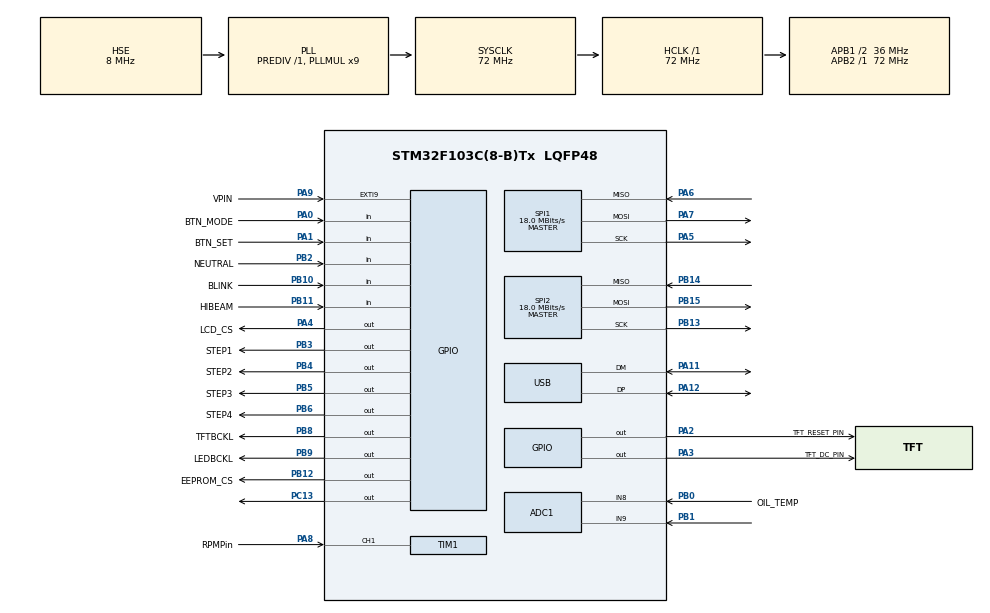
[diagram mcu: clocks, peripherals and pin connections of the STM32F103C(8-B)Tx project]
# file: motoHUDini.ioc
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ADC1.Channel-0\#ChannelRegularConversion=ADC_CHANNEL_8
ADC1.Channel-1\#ChannelRegularConversion=ADC_CHANNEL_9
ADC1.Channel-2\#ChannelRegularConversion=ADC_CHANNEL_TEMPSENSOR
ADC1.ContinuousConvMode=ENABLE
ADC1.EnableAnalogWatchDog=false
ADC1.InjNumberOfConversion=0
ADC1.NbrOfConversion=3
ADC1.NbrOfConversionFlag=1
ADC1.Rank-0\#ChannelRegularConversion=1
ADC1.Rank-1\#ChannelRegularConversion=2
ADC1.Rank-2\#ChannelRegularConversion=3
ADC1.SamplingTime-0\#ChannelRegularConversion=ADC_SAMPLETIME_71CYCLES_5
ADC1.SamplingTime-1\#ChannelRegularConversion=ADC_SAMPLETIME_71CYCLES_5
ADC1.SamplingTime-2\#ChannelRegularConversion=ADC_SAMPLETIME_28CYCLES_5
ADC1.master=1
Dma.ADC1.1.Direction=DMA_PERIPH_TO_MEMORY
Dma.ADC1.1.Instance=DMA1_Channel1
Dma.ADC1.1.MemDataAlignment=DMA_MDATAALIGN_WORD
Dma.ADC1.1.MemInc=DMA_MINC_ENABLE
Dma.ADC1.1.Mode=DMA_CIRCULAR
Dma.ADC1.1.PeriphDataAlignment=DMA_PDATAALIGN_WORD
Dma.ADC1.1.PeriphInc=DMA_PINC_DISABLE
Dma.ADC1.1.Priority=DMA_PRIORITY_LOW
Dma.Request0=SPI1_TX
Dma.Request1=ADC1
Dma.Request2=SPI1_RX
Dma.SPI1_RX.2.Direction=DMA_PERIPH_TO_MEMORY
Dma.SPI1_RX.2.Instance=DMA1_Channel2
Dma.SPI1_RX.2.MemDataAlignment=DMA_MDATAALIGN_BYTE
Dma.SPI1_RX.2.MemInc=DMA_MINC_ENABLE
Dma.SPI1_RX.2.Mode=DMA_NORMAL
Dma.SPI1_RX.2.PeriphDataAlignment=DMA_PDATAALIGN_BYTE
Dma.SPI1_RX.2.PeriphInc=DMA_PINC_DISABLE
Dma.SPI1_RX.2.Priority=DMA_PRIORITY_HIGH
Dma.SPI1_TX.0.Direction=DMA_MEMORY_TO_PERIPH
Dma.SPI1_TX.0.Instance=DMA1_Channel3
Dma.SPI1_TX.0.MemDataAlignment=DMA_MDATAALIGN_BYTE
Dma.SPI1_TX.0.MemInc=DMA_MINC_ENABLE
Dma.SPI1_TX.0.Mode=DMA_NORMAL
Dma.SPI1_TX.0.PeriphDataAlignment=DMA_PDATAALIGN_BYTE
Dma.SPI1_TX.0.PeriphInc=DMA_PINC_DISABLE
Dma.SPI1_TX.0.Priority=DMA_PRIORITY_HIGH
FREERTOS.Tasks01=defaultTask,0,64,StartDefaultTask,Default,NULL,Dynamic,NULL,NULL;LCDMain,-1,1024,vLCDMain,Default,NULL,Dynamic,NULL,NULL;Stepper,1,64,vStepp,Default,NULL,Dynamic,NULL,NULL;startup,3,64,vStartup,Default,NULL,Dynamic,NULL,NULL
FREERTOS.configCHECK_FOR_STACK_OVERFLOW=2
FREERTOS.configGENERATE_RUN_TIME_STATS=1
FREERTOS.configMINIMAL_STACK_SIZE=64
FREERTOS.configTOTAL_HEAP_SIZE=12000
Mcu.Family=STM32F1
Mcu.Name=STM32F103C(8-B)Tx
Mcu.Package=LQFP48
NVIC.ADC1_2_IRQn=true\:5\:0\:false\:false\:true\:true\:true\:true
NVIC.DMA1_Channel1_IRQn=true\:5\:0\:false\:false\:true\:true\:false\:true
NVIC.DMA1_Channel2_IRQn=true\:5\:0\:false\:false\:true\:true\:false\:true
NVIC.DMA1_Channel3_IRQn=true\:5\:0\:false\:false\:true\:true\:false\:true
NVIC.EXTI9_5_IRQn=true\:5\:0\:false\:false\:true\:true\:true\:true
NVIC.PriorityGroup=NVIC_PRIORITYGROUP_4
NVIC.SPI1_IRQn=true\:5\:0\:false\:false\:true\:true\:true\:true
NVIC.TIM1_CC_IRQn=true\:5\:0\:false\:false\:true\:true\:true\:true
NVIC.TIM2_IRQn=true\:5\:0\:false\:false\:true\:true\:true\:true
NVIC.TIM3_IRQn=true\:5\:0\:false\:false\:true\:true\:true\:true
NVIC.TIM4_IRQn=true\:0\:0\:false\:false\:true\:false\:false\:true
NVIC.TimeBase=TIM4_IRQn
NVIC.TimeBaseIP=TIM4
NVIC.USB_LP_CAN1_RX0_IRQn=true\:5\:0\:false\:false\:true\:true\:false\:true
PA0-WKUP.GPIO_Label=BTN_MODE
PA0-WKUP.GPIO_PuPd=GPIO_PULLUP
PA0-WKUP.Signal=GPIO_Input
PA1.GPIO_Label=BTN_SET
PA1.GPIO_PuPd=GPIO_PULLUP
PA1.Signal=GPIO_Input
PA11.Mode=Device
PA11.Signal=USB_DM
PA12.Mode=Device
PA12.Signal=USB_DP
PA13.Mode=Serial_Wire
PA13.Signal=SYS_JTMS-SWDIO
PA14.Mode=Serial_Wire
PA14.Signal=SYS_JTCK-SWCLK
PA2.GPIO_Label=TFT_RESET_PIN
PA2.GPIO_Speed=GPIO_SPEED_FREQ_HIGH
PA2.Signal=GPIO_Output
PA3.GPIO_Label=TFT_DC_PIN
PA3.GPIO_Speed=GPIO_SPEED_FREQ_HIGH
PA3.Signal=GPIO_Output
PA4.GPIO_Label=LCD_CS
PA4.GPIO_Speed=GPIO_SPEED_FREQ_HIGH
PA4.Signal=GPIO_Output
PA5.Mode=Full_Duplex_Master
PA5.Signal=SPI1_SCK
PA6.Mode=Full_Duplex_Master
PA6.Signal=SPI1_MISO
PA7.Mode=Full_Duplex_Master
PA7.Signal=SPI1_MOSI
PA8.GPIO_Label=RPMPin
PA8.Signal=S_TIM1_CH1
PA9.GPIO_Label=VPIN
PA9.GPIO_ModeDefaultEXTI=GPIO_MODE_IT_FALLING
PA9.GPIO_PuPd=GPIO_PULLUP
PA9.Signal=GPXTI9
PB0.GPIO_Label=OIL_TEMP
PB0.Signal=ADCx_IN8
PB1.Signal=ADCx_IN9
PB10.GPIO_Label=BLINK
PB10.Signal=GPIO_Input
PB11.GPIO_Label=HIBEAM
PB11.Signal=GPIO_Input
PB12.GPIO_Label=EEPROM_CS
PB12.GPIO_PuPd=GPIO_PULLUP
PB12.PinState=GPIO_PIN_SET
PB12.Signal=GPIO_Output
PB13.Mode=Full_Duplex_Master
PB13.Signal=SPI2_SCK
PB14.Mode=Full_Duplex_Master
PB14.Signal=SPI2_MISO
PB15.Mode=Full_Duplex_Master
PB15.Signal=SPI2_MOSI
PB2.GPIO_Label=NEUTRAL
PB2.Signal=GPIO_Input
PB3.GPIO_Label=STEP1
PB3.Signal=GPIO_Output
PB4.GPIO_Label=STEP2
PB4.Signal=GPIO_Output
PB5.GPIO_Label=STEP3
PB5.Signal=GPIO_Output
PB6.GPIO_Label=STEP4
PB6.Signal=GPIO_Output
PB8.GPIO_Label=TFTBCKL
PB8.GPIO_PuPd=GPIO_PULLUP
PB8.Signal=GPIO_Output
PB9.GPIO_Label=LEDBCKL
PB9.GPIO_PuPd=GPIO_PULLUP
PB9.PinState=GPIO_PIN_RESET
PB9.Signal=GPIO_Output
PC13-TAMPER-RTC.GPIO_PuPd=GPIO_PULLUP
PC13-TAMPER-RTC.Signal=GPIO_Output
PC14-OSC32_IN.Mode=LSE-External-Oscillator
PC14-OSC32_IN.Signal=RCC_OSC32_IN
PC15-OSC32_OUT.Mode=LSE-External-Oscillator
PC15-OSC32_OUT.Signal=RCC_OSC32_OUT
PD0-OSC_IN.Mode=HSE-External-Oscillator
PD0-OSC_IN.Signal=RCC_OSC_IN
PD1-OSC_OUT.Mode=HSE-External-Oscillator
PD1-OSC_OUT.Signal=RCC_OSC_OUT
ProjectManager.HeapSize=0x200
ProjectManager.StackSize=0x400
ProjectManager.TargetToolchain=STM32CubeIDE
RCC.ADCPresc=RCC_ADCPCLK2_DIV6
RCC.AHBFreq_Value=72000000
RCC.APB1CLKDivider=RCC_HCLK_DIV2
RCC.APB1Freq_Value=36000000
RCC.APB1TimFreq_Value=72000000
RCC.APB2Freq_Value=72000000
RCC.APB2TimFreq_Value=72000000
RCC.HCLKFreq_Value=72000000
RCC.LSE_Timout=500
RCC.PLLMUL=RCC_PLL_MUL9
RCC.PLLSourceVirtual=RCC_PLLSOURCE_HSE
RCC.RTCClockSelection=RCC_RTCCLKSOURCE_LSE
RCC.SYSCLKFreq_VALUE=72000000
RCC.SYSCLKSource=RCC_SYSCLKSOURCE_PLLCLK
RCC.USBFreq_Value=48000000
RCC.USBPrescaler=RCC_USBCLKSOURCE_PLL_DIV1_5
RTC.Format=RTC_FORMAT_BIN
RTC.Hours=12
RTC.Minutes=0
SH.ADCx_IN8.0=ADC1_IN8,IN8
SH.ADCx_IN9.0=ADC1_IN9,IN9
SH.S_TIM1_CH1.0=TIM1_CH1,Input_Capture1_from_TI1
SPI1.BaudRatePrescaler=SPI_BAUDRATEPRESCALER_4
SPI1.CalculateBaudRate=18.0 MBits/s
SPI1.Direction=SPI_DIRECTION_2LINES
SPI1.Mode=SPI_MODE_MASTER
SPI1.VirtualType=VM_MASTER
SPI2.CalculateBaudRate=18.0 MBits/s
SPI2.Direction=SPI_DIRECTION_2LINES
SPI2.Mode=SPI_MODE_MASTER
SPI2.VirtualType=VM_MASTER
TIM1.AutoReloadPreload=TIM_AUTORELOAD_PRELOAD_ENABLE
TIM1.Channel-Input_Capture1_from_TI1=TIM_CHANNEL_1
TIM1.Period=0xFFFF
TIM1.Prescaler=72
TIM2.AutoReloadPreload=TIM_AUTORELOAD_PRELOAD_ENABLE
TIM2.Period=20000
TIM2.Prescaler=7200
TIM3.AutoReloadPreload=TIM_AUTORELOAD_PRELOAD_ENABLE
TIM3.Period=100
TIM3.Prescaler=7200
USB_DEVICE.APP_RX_DATA_SIZE=100
USB_DEVICE.APP_TX_DATA_SIZE=100
USB_DEVICE.CLASS_NAME_FS=CDC
USB_DEVICE.MANUFACTURER_STRING=Burdecki
USB_DEVICE.PRODUCT_STRING_CDC_FS=motoHUDr2
USB_DEVICE.VirtualMode=Cdc
USB_DEVICE.VirtualModeFS=Cdc_FS
VP_ADC1_TempSens_Input.Mode=IN-TempSens
VP_FREERTOS_VS_CMSIS_V1.Mode=CMSIS_V1
VP_RTC_No_RTC_Output.Mode=RTC_OUT_NO
VP_RTC_VS_RTC_Activate.Mode=RTC_Enabled
VP_SYS_VS_tim4.Mode=TIM4
VP_TIM1_VS_ClockSourceINT.Mode=Internal
VP_TIM2_VS_ClockSourceINT.Mode=Internal
VP_TIM3_VS_ClockSourceINT.Mode=Internal
VP_USB_DEVICE_VS_USB_DEVICE_CDC_FS.Mode=CDC_FS
board=custom

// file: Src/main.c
/* USER CODE BEGIN Header */
/**
  ******************************************************************************
  * @file           : main.c
  * @brief          : Main program body
  ******************************************************************************
  * @attention
  *
  * <h2><center>&copy; Copyright (c) 2019 STMicroelectronics.
  * All rights reserved.</center></h2>
  *
  * This software component is licensed by ST under BSD 3-Clause license,
  * the "License"; You may not use this file except in compliance with the
  * License. You may obtain a copy of the License at:
  *                        opensource.org/licenses/BSD-3-Clause
  *
  ******************************************************************************
  */
/* USER CODE END Header */

#include "main.h"
#include "cmsis_os.h"
#include "adc.h"
#include "dma.h"
#include "rtc.h"
#include "spi.h"
#include "tim.h"
#include "usb_device.h"
#include "gpio.h"

/* USER CODE BEGIN Includes */
#include "ILI9341/ILI9341_STM32_Driver.h"
#include "ILI9341/ILI9341_GFX.h"
#include "stm32f1xx_it.h"
#include "itoa.h"

/* USER CODE END Includes */

void SystemClock_Config(void);
void MX_FREERTOS_Init(void);

int main(void)
{

  /* MCU Configuration--------------------------------------------------------*/

  /* Reset of all peripherals, Initializes the Flash interface and the Systick. */
  HAL_Init();

  /* USER CODE BEGIN Init */

  //////////////////////////////////////////////////////////////////////////////////
  //AFTER CODE GENERATION IN CUBE CHANGE BAUDRATE_PRESLALER FOR SPI1 to 2 in spi.c//
  // AND REMOVE TIME SETTING IN rtc.c
  //////////////////////////////////////////////////////////////////////////////////

  /* USER CODE END Init */

  /* Configure the system clock */
  SystemClock_Config();

  /* Initialize all configured peripherals */
  MX_GPIO_Init();
  MX_DMA_Init();
  MX_SPI1_Init();
  MX_TIM1_Init();
  MX_SPI2_Init();
  MX_TIM2_Init();
  MX_ADC1_Init();
  MX_RTC_Init();
  MX_TIM3_Init();
  /* USER CODE BEGIN 2 */

  HAL_TIM_IC_Start_IT(&htim1, TIM_CHANNEL_1);
  HAL_TIM_Base_Start_IT(&htim2);
  __HAL_TIM_DISABLE(&htim2);
  HAL_TIM_Base_Start_IT(&htim3);

  HAL_GPIO_WritePin(GPIOB, GPIO_PIN_8, GPIO_PIN_RESET);  //tft backlight off

  /* USER CODE END 2 */

  /* Call init function for freertos objects (in freertos.c) */
  MX_FREERTOS_Init();

  /* Start scheduler */
  osKernelStart();

  /* We should never get here as control is now taken by the scheduler */

  /* Infinite loop */
  while (1)
  {

  }
}

void SystemClock_Config(void)
{
  RCC_OscInitTypeDef RCC_OscInitStruct = {0};
  RCC_ClkInitTypeDef RCC_ClkInitStruct = {0};
  RCC_PeriphCLKInitTypeDef PeriphClkInit = {0};

  /** Initializes the CPU, AHB and APB busses clocks
  */
  RCC_OscInitStruct.OscillatorType = RCC_OSCILLATORTYPE_HSE|RCC_OSCILLATORTYPE_LSE;
  RCC_OscInitStruct.HSEState = RCC_HSE_ON;
  RCC_OscInitStruct.HSEPredivValue = RCC_HSE_PREDIV_DIV1;
  RCC_OscInitStruct.LSEState = RCC_LSE_ON;
  RCC_OscInitStruct.HSIState = RCC_HSI_ON;
  RCC_OscInitStruct.PLL.PLLState = RCC_PLL_ON;
  RCC_OscInitStruct.PLL.PLLSource = RCC_PLLSOURCE_HSE;
  RCC_OscInitStruct.PLL.PLLMUL = RCC_PLL_MUL9;
  if (HAL_RCC_OscConfig(&RCC_OscInitStruct) != HAL_OK)
  {
    Error_Handler();
  }
  /** Initializes the CPU, AHB and APB busses clocks
  */
  RCC_ClkInitStruct.ClockType = RCC_CLOCKTYPE_HCLK|RCC_CLOCKTYPE_SYSCLK
                              |RCC_CLOCKTYPE_PCLK1|RCC_CLOCKTYPE_PCLK2;
  RCC_ClkInitStruct.SYSCLKSource = RCC_SYSCLKSOURCE_PLLCLK;
  RCC_ClkInitStruct.AHBCLKDivider = RCC_SYSCLK_DIV1;
  RCC_ClkInitStruct.APB1CLKDivider = RCC_HCLK_DIV2;
  RCC_ClkInitStruct.APB2CLKDivider = RCC_HCLK_DIV1;

  if (HAL_RCC_ClockConfig(&RCC_ClkInitStruct, FLASH_LATENCY_2) != HAL_OK)
  {
    Error_Handler();
  }
  PeriphClkInit.PeriphClockSelection = RCC_PERIPHCLK_RTC|RCC_PERIPHCLK_ADC
                              |RCC_PERIPHCLK_USB;
  PeriphClkInit.RTCClockSelection = RCC_RTCCLKSOURCE_LSE;
  PeriphClkInit.AdcClockSelection = RCC_ADCPCLK2_DIV6;
  PeriphClkInit.UsbClockSelection = RCC_USBCLKSOURCE_PLL_DIV1_5;
  if (HAL_RCCEx_PeriphCLKConfig(&PeriphClkInit) != HAL_OK)
  {
    Error_Handler();
  }
}

void HAL_TIM_PeriodElapsedCallback(TIM_HandleTypeDef *htim)
{
  if (htim->Instance == TIM4) {
    HAL_IncTick();
  }
}

void Error_Handler(void)
{
}

/************************ (C) COPYRIGHT STMicroelectronics *****END OF FILE****/

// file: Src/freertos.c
/* USER CODE BEGIN Header */
/**
  ******************************************************************************
  * File Name          : freertos.c
  * Description        : Code for freertos applications
  ******************************************************************************
  * @attention
  *
  * <h2><center>&copy; Copyright (c) 2019 STMicroelectronics.
  * All rights reserved.</center></h2>
  *
  * This software component is licensed by ST under Ultimate Liberty license
  * SLA0044, the "License"; You may not use this file except in compliance with
  * the License. You may obtain a copy of the License at:
  *                             www.st.com/SLA0044
  *
  ******************************************************************************
  */
/* USER CODE END Header */

#include "FreeRTOS.h"
#include "task.h"
#include "main.h"
#include "cmsis_os.h"

/* USER CODE BEGIN Includes */
#include "freertos.h"
#include "ILI9341/ILI9341_STM32_Driver.h"
#include "ILI9341/ILI9341_GFX.h"
#include "stm32f1xx_it.h"
#include <math.h>
#include <stdlib.h>
#include "MOTOHUD_CONFIG.h"
#include "adc.h"
#include "usbd_cdc_if.h"
#include "rtc.h"
#include "ILI9341/derbilogo.h"
#include "ILI9341/blinkerIcon.h"
#include "ILI9341/highBeamIcon.h"
#include "EEPROM_SPI.h"
#include "spi.h"
/* USER CODE END Includes */

/* USER CODE BEGIN Variables */

/////////////////////////////
//////GLOBAL  VARIABLES//////
/////////////////////////////

//RPM CALCULATION AND AVERAGING
uint32_t RPM=0;
uint32_t RPMAvgSum=0;
float RPMfreq=0;
int RPMNow=0;
uint32_t RPMAvg_i=0;
uint32_t lastRPM=1;
uint8_t rpmCounter=0; //value will be more readable if refreshed less often

//TEMPERATURE
uint32_t tempNowOil=0;
uint32_t tempNowAir=0;
double voltOil=0;
double voltAir=0;
uint32_t tempOilADC=0;
uint32_t tempAvgOil=0;
uint32_t tempAirADC=0;
uint32_t tempAvgAir=0;
uint32_t tempAvg_i=0;
int tempCelsiusOil=0;
int tempCelsiusAir=-20;

int lastTempCelsiusOil=-40;
int lastTempCelsiusAir=-40;

//STRINGS FOR VALUES
char RPMString[4];
char VelocityString[3];
char tempOilString[4];
char tempAirString[4];
char mileageString[10];
char tripString[10];

//VELOCITY RELATED
uint8_t EncNumberOfPulses=NUM_OF_PULSES_PER_REV;   //number of pulses from hall sensor per 1 wheel rev
float WheelCircumference=WHEEL_CIRCUMFERENCE;
uint8_t lastVelocity=1;
uint8_t velocityCounter=0; //value will be more readable if refreshed less often

//BUFFER FOR DATA FROM ADC
uint32_t ADCBUF[3];

//USB BUFFERS
uint8_t UsbReceivedData[40];
uint8_t UsbReceivedDataFlag;

//CLOCK REFRESH WHEN MINUTES CHANGE
uint8_t lastMinute=0;

//ODOMETER
double mileage=0;
double trip=0;
double lastTrip=-1;

//EEPROM
	extern uint8_t RxBuffer[8];       //eeprom receive data buffer
	extern uint8_t EEPROM_StatusByte;

	//INDICATORS
uint8_t neutralState=0;
uint8_t lastNeutralState=1;
uint8_t highBeamState=1;
uint8_t lastHighBeamState=0;
uint8_t blinkerState=1;
uint8_t lastBlinkerState=0;

	//MENU
uint8_t btnModeSec=0;
uint8_t btnSetSec=0;
uint8_t timeSettingMode=0;
uint8_t timeSettingModeHour=0;
uint8_t timeSettingModeMinute=0;

/* USER CODE END Variables */
osThreadId defaultTaskHandle;
osThreadId LCDMainHandle;
osThreadId StepperHandle;
osThreadId startupHandle;

/* USER CODE BEGIN FunctionPrototypes */

void SendUsbMessage(uint8_t message[]);
/* USER CODE END FunctionPrototypes */

void StartDefaultTask(void const * argument);
void vLCDMain(void const * argument);
void vStepp(void const * argument);
void vStartup(void const * argument);

extern void MX_USB_DEVICE_Init(void);
void MX_FREERTOS_Init(void); /* (MISRA C 2004 rule 8.1) */

/* Hook prototypes */
void configureTimerForRunTimeStats(void);
unsigned long getRunTimeCounterValue(void);
void vApplicationStackOverflowHook(xTaskHandle xTask, signed char *pcTaskName);

/* USER CODE BEGIN 1 */
/* Functions needed when configGENERATE_RUN_TIME_STATS is on */
__weak void configureTimerForRunTimeStats(void)
{

}

__weak unsigned long getRunTimeCounterValue(void)
{
return 0;
}
/* USER CODE END 1 */

/* USER CODE BEGIN 4 */
__weak void vApplicationStackOverflowHook(xTaskHandle xTask, signed char *pcTaskName)
{
   /* Run time stack overflow checking is performed if
   configCHECK_FOR_STACK_OVERFLOW is defined to 1 or 2. This hook function is
   called if a stack overflow is detected. */
}
/* USER CODE END 4 */

void MX_FREERTOS_Init(void) {

  /* Create the thread(s) */
  /* definition and creation of defaultTask */
  osThreadDef(defaultTask, StartDefaultTask, osPriorityNormal, 0, 64);
  defaultTaskHandle = osThreadCreate(osThread(defaultTask), NULL);

  /* definition and creation of LCDMain */
  osThreadDef(LCDMain, vLCDMain, osPriorityBelowNormal, 0, 1024);
  LCDMainHandle = osThreadCreate(osThread(LCDMain), NULL);

  /* definition and creation of Stepper */
  osThreadDef(Stepper, vStepp, osPriorityAboveNormal, 0, 64);
  StepperHandle = osThreadCreate(osThread(Stepper), NULL);

  /* definition and creation of startup */
  osThreadDef(startup, vStartup, osPriorityRealtime, 0, 64);
  startupHandle = osThreadCreate(osThread(startup), NULL);

}

void StartDefaultTask(void const * argument)
{
  /* init code for USB_DEVICE */
  MX_USB_DEVICE_Init();

  /* USER CODE BEGIN StartDefaultTask */

  //////////////ADC calibration and start/////////////////////////
  	HAL_ADC_Stop(&hadc1);
  	HAL_ADCEx_Calibration_Start(&hadc1);
  	HAL_ADC_Start_DMA(&hadc1, (uint32_t*)ADCBUF, 3);

  /* Infinite loop */

  for(;;)
  {
	  //calculation and drawing of temperature
	  		tempNowOil=ADCBUF[0];    //number of ADC samples
	  		tempAvgOil+=tempNowOil;
	  		tempNowAir=ADCBUF[1];
	  		tempAvgAir+=tempNowAir;
	  		if(tempAvg_i==69){
	  			tempOilADC=tempAvgOil/70;     //averaging samples from ADC
	  			tempAvgOil=0;
	  			tempAirADC=tempAvgAir/70;
	  			tempAvgAir=0;
	  			tempAvg_i=0;

	  			voltOil=((tempOilADC*3.29)/4095);    //calculate voltage value
	  			voltAir=((tempAirADC*3.29)/4095);
//TWEAK RESISTANCE AND THERMISTOR CONSTANTS TO YOUR NEEDS
//https://www.giangrandi.org/electronics/ntc/ntc.shtml
	  			double resistanceOil=6284*(1/((3.3/(voltOil))-1));    //measured resistor R22 value into formula
	  			double resistanceAir=158420*(1/((3.3/(voltAir))-1));  //measured resistor R23 value into formula

	  			tempCelsiusOil=(1/((log(resistanceOil/98710)/(3900))+(1/298.15)))-273.15;   //calculating temperature based on thermistor T(R) characteristic
	  			tempCelsiusAir=(1/((log(resistanceAir/98710)/(3900))+(1/298.15)))-273.15;

	  			if(tempCelsiusOil<30)tempCelsiusOil=0;   //if value is out of range assigns const value to prevent unnecessary screen updates
	  			if(tempCelsiusAir<-10)tempCelsiusAir=-10;

	  		}
	  		tempAvg_i++;
	  		osDelay(50);

  }
  /* USER CODE END StartDefaultTask */
}

void vLCDMain(void const * argument)
{
	/* USER CODE BEGIN vLCDMain */

	ILI9341_Init();
	ILI9341_Fill_Screen(BLACK);  //LCD init and graphics memory cleanup
	osDelay(30);

	///////////BACKLIGHT ON////////////
	HAL_GPIO_WritePin(GPIOB, GPIO_PIN_9, GPIO_PIN_SET);  //dial gauge backlight is delayed-switching on now
	HAL_GPIO_WritePin(GPIOB, GPIO_PIN_8, GPIO_PIN_SET);  //tft backlight is delayed-switching on now

	//////////DRAWING SPLASH SCREEN WITH LOGO/////
	ILI9341_Draw_Rectangle(56, 50, 40, 120, LIGHTGREY);
	ILI9341_Draw_Rectangle(96, 50, 155, 120, RED);
	ILI9341_DrawBitmap((const char*)logo, 125,70,96,78,RED,WHITE);

	//ILI9341_Draw_Text("Welcome", ILI9341_SCREEN_WIDTH/2-70, ILI9341_SCREEN_HEIGHT/2+20, WHITE, 3, BLACK);
	//ILI9341_Draw_Text("on board", ILI9341_SCREEN_WIDTH/2-80, ILI9341_SCREEN_HEIGHT/2+45, WHITE, 3, BLACK);

	osDelay(3000);
	ILI9341_Draw_Rectangle(50, 50, 205, 130, BLACK);  //wait 2s and get rid of the logo

	//////////////////////////RTC power failure///////////////////
	if(HAL_RTCEx_BKUPRead(&hrtc, RTC_BKP_DR1)!=0x32FE){
		ILI9341_Draw_Rectangle(ILI9341_SCREEN_WIDTH/2-40, ILI9341_SCREEN_HEIGHT/2-80, 60, 72,RED);
		ILI9341_Draw_Text("!", ILI9341_SCREEN_WIDTH/2, ILI9341_SCREEN_HEIGHT/2-80, WHITE, 9, RED);
		ILI9341_Draw_Text("Constant power lost", 40, ILI9341_SCREEN_HEIGHT/2+30, RED, 2, BLACK);
		ILI9341_Draw_Text("Set new time", ILI9341_SCREEN_WIDTH/2-60, ILI9341_SCREEN_HEIGHT/2+50, RED, 2, BLACK);
		HAL_RTCEx_BKUPWrite(&hrtc, RTC_BKP_DR1, 0x32FE);
		osDelay(3000);
		ILI9341_Fill_Screen(BLACK);
	}

	//////////////////////////////EEPROM CFG/////////////////////
	EEPROM_SPI_INIT(&hspi2);

	//double m=28622.70;    //write initial values to blank EEPROM
	//double t=1.61;
	//EEPROM_SPI_WriteBuffer((uint8_t*) &m, (uint16_t)16, (uint16_t)8);
	//EEPROM_SPI_WriteBuffer((uint8_t*) &t, (uint16_t)24, (uint16_t)8);

	//read saved mileage and trip from eeprom

	if(EEPROM_SPI_ReadBuffer(RxBuffer, (uint16_t)16, (uint16_t)8)==EEPROM_STATUS_COMPLETE){ //read mileage as uint8_t array from address 16
		memcpy(&mileage, RxBuffer, sizeof(double));	  //cast uint8_t array to double
	}
	else{                                                                                            //communication error
		ILI9341_Draw_Rectangle(ILI9341_SCREEN_WIDTH/2-40, ILI9341_SCREEN_HEIGHT/2-80, 60, 72,RED);
		ILI9341_Draw_Text("!", ILI9341_SCREEN_WIDTH/2, ILI9341_SCREEN_HEIGHT/2-80, WHITE, 9, RED);
		ILI9341_Draw_Text("Internal storage error", 40, ILI9341_SCREEN_HEIGHT/2+30, RED, 2, BLACK);
		ILI9341_Draw_Text("Configure again", ILI9341_SCREEN_WIDTH/2-60, ILI9341_SCREEN_HEIGHT/2+50, RED, 2, BLACK);
		mileage=0;
		osDelay(3000);
		ILI9341_Fill_Screen(BLACK);
	}
	if(mileage<0 || mileage >1000000){                                                                //mileage value incorrect
		ILI9341_Draw_Rectangle(ILI9341_SCREEN_WIDTH/2-40, ILI9341_SCREEN_HEIGHT/2-80, 60, 72,RED);
		ILI9341_Draw_Text("!", ILI9341_SCREEN_WIDTH/2, ILI9341_SCREEN_HEIGHT/2-80, WHITE, 9, RED);
		ILI9341_Draw_Text("Mileage value incorrect", 40, ILI9341_SCREEN_HEIGHT/2+30, RED, 2, BLACK);
		mileage=0;
		osDelay(3000);
		ILI9341_Fill_Screen(BLACK);
	}
	if(mileage!=mileage){                                                                               //EEPROM value not a number(NaN)
		ILI9341_Draw_Rectangle(ILI9341_SCREEN_WIDTH/2-40, ILI9341_SCREEN_HEIGHT/2-80, 60, 72,RED);
		ILI9341_Draw_Text("!", ILI9341_SCREEN_WIDTH/2, ILI9341_SCREEN_HEIGHT/2-80, WHITE, 9, RED);
		ILI9341_Draw_Text("Internal storage error", 40, ILI9341_SCREEN_HEIGHT/2+30, RED, 2, BLACK);
		ILI9341_Draw_Text("Configure again", ILI9341_SCREEN_WIDTH/2-60, ILI9341_SCREEN_HEIGHT/2+50, RED, 2, BLACK);
		mileage=0;
		//EEPROM_SPI_WriteBuffer((uint8_t*) &mileage, (uint16_t)16, (uint16_t)8);
		osDelay(3000);
		ILI9341_Fill_Screen(BLACK);
	}

	EEPROM_SPI_ReadBuffer(RxBuffer, (uint16_t)24, (uint16_t)8);   //read trip from eeprom
	memcpy(&trip, RxBuffer, sizeof(double));

	if(trip<0 || trip >10000){       //EEPROM value invalid
		ILI9341_Draw_Rectangle(ILI9341_SCREEN_WIDTH/2-40, ILI9341_SCREEN_HEIGHT/2-80, 60, 72,RED);
		ILI9341_Draw_Text("!", ILI9341_SCREEN_WIDTH/2, ILI9341_SCREEN_HEIGHT/2-80, WHITE, 9, RED);
		ILI9341_Draw_Text("Internal storage error", 40, ILI9341_SCREEN_HEIGHT/2+30, RED, 2, BLACK);
		trip=0;
		EEPROM_SPI_WriteBuffer((uint8_t*) &trip, (uint16_t)24, (uint16_t)8);
		osDelay(3000);
		ILI9341_Fill_Screen(BLACK);
	}
	if(trip!=trip){                                                                               //EEPROM value not a number(NaN)
		ILI9341_Draw_Rectangle(ILI9341_SCREEN_WIDTH/2-40, ILI9341_SCREEN_HEIGHT/2-80, 60, 72,RED);
		ILI9341_Draw_Text("!", ILI9341_SCREEN_WIDTH/2, ILI9341_SCREEN_HEIGHT/2-80, WHITE, 9, RED);
		ILI9341_Draw_Text("Internal storage error", 40, ILI9341_SCREEN_HEIGHT/2+30, RED, 2, BLACK);
		trip=0;
		EEPROM_SPI_WriteBuffer((uint8_t*) &trip, (uint16_t)24, (uint16_t)8);
		osDelay(3000);
		ILI9341_Fill_Screen(BLACK);
	}

	///////DRAWING STATIC GRAPHICS///////
	ILI9341_Draw_Horizontal_Line(1, 49, 319, WHITE);     //horizontal lines
	ILI9341_Draw_Horizontal_Line(1, 74, 319, WHITE);
	ILI9341_Draw_Horizontal_Line(1, 170, 319, WHITE);
	ILI9341_Draw_Horizontal_Line(1, 205, 319, WHITE);
	ILI9341_Draw_Rectangle(ILI9341_SCREEN_WIDTH/2-75, ILI9341_SCREEN_HEIGHT/2, 40, 16, WHITE);    //kmh white rectangle
	ILI9341_Draw_Text("kmh", ILI9341_SCREEN_WIDTH/2-75, ILI9341_SCREEN_HEIGHT/2, BLACK, 2, WHITE);

	////////FORCE TIME DRAWING AFTER STARTUP WHEN MINUTE IN RTC = 0/////////
	RTC_TimeTypeDef sTime;
	HAL_RTC_GetTime(&hrtc, &sTime, RTC_FORMAT_BIN);
	lastMinute=sTime.Minutes+1;

	while(1){

		//temperature drawing
		if(lastTempCelsiusAir!=tempCelsiusAir || lastTempCelsiusOil!=tempCelsiusOil){
		char* pTempOil=tempOilString;
		char* pTempAir=tempAirString;

		if(tempCelsiusOil<35){pTempOil="--";} //blank if thermistor unplugged
		else{itoa(tempCelsiusOil,pTempOil,10);}
		if(tempCelsiusAir<-10){pTempAir="--";}
		else{itoa(tempCelsiusAir,pTempAir,10);}

		//drawing Oil temp
		ILI9341_Draw_Rectangle( 205, 208, 80, 60, BLACK);
		ILI9341_Draw_Text("oil", 320-(strlen(pTempOil)*19)-55, 215, WHITE, 1, BLACK);
		ILI9341_Draw_Text(pTempOil, 320-(strlen(pTempOil)*19)-28, 207, WHITE, 3, BLACK);
		ILI9341_Draw_Text("0", 320-28, 207, WHITE, 1, BLACK);
		ILI9341_Draw_Text("C", 320-19, 207, WHITE, 3, BLACK);
		//drawing Air temp
		ILI9341_Draw_Rectangle( 40, 207, 100, 60, BLACK);
		ILI9341_Draw_Text(pTempAir, 15, 207, WHITE, 3, BLACK);
		ILI9341_Draw_Text("0", 15+strlen(pTempAir)*19, 207, WHITE, 1, BLACK);
		ILI9341_Draw_Text("C", 23+strlen(pTempAir)*19, 207, WHITE, 3, BLACK);
		ILI9341_Draw_Text("air", 50+strlen(pTempAir)*19, 215, WHITE, 1, BLACK);

		lastTempCelsiusAir=tempCelsiusAir;
		lastTempCelsiusOil=tempCelsiusOil;
		}

		///////////////////////RPM value drawing//////////////////////

		if(rpmCounter>4){ //refresh value each 5 main loop cycles
			rpmCounter=0;
			if(RPM!=lastRPM){   //RPM is calculated in vStepp task
				lastRPM=RPM;
				char* pRPM=RPMString;
				itoa(RPM, pRPM, 10);
				if(RPM<100)ILI9341_Draw_Rectangle( ILI9341_SCREEN_WIDTH/2-80, 5, 60, 40, BLACK);
				if(RPM<1000){ILI9341_Draw_Rectangle( ILI9341_SCREEN_WIDTH/2-25, 5, 60, 40, BLACK);}
				else{
					ILI9341_Draw_Rectangle( ILI9341_SCREEN_WIDTH/2+8, 5, 60, 40, BLACK);
				}
				ILI9341_Draw_Text(pRPM, ILI9341_SCREEN_WIDTH/2-110, 5, BLACK, 5, WHITE);
				ILI9341_Draw_Text("rpm", ILI9341_SCREEN_WIDTH/2-146, 5, BLACK, 2, WHITE);
			}
		}
		rpmCounter++;
		/////////////Velocity drawing//////////////////////

		//if in neutral gear draw N in GREEN
		if(neutralState==1 && lastNeutralState==0){
			ILI9341_Draw_Rectangle(ILI9341_SCREEN_WIDTH/2-30, ILI9341_SCREEN_HEIGHT/2-40, 150, 80, BLACK); //hide kmh value
			ILI9341_Draw_Text("N", ILI9341_SCREEN_WIDTH/2-30, ILI9341_SCREEN_HEIGHT/2-40, GREEN, 10, BLACK);
			ILI9341_Draw_Rectangle(ILI9341_SCREEN_WIDTH/2-80, ILI9341_SCREEN_HEIGHT/2, 45, 16, BLACK); //hide kmh text white background
			lastVelocity=255;
		}
		if(neutralState==0 && lastNeutralState==1){ //force kmh value drawing when changing from neutral to gear
			ILI9341_Draw_Rectangle(ILI9341_SCREEN_WIDTH/2-75, ILI9341_SCREEN_HEIGHT/2, 40, 16, WHITE);    //kmh white rectangle
			ILI9341_Draw_Text("kmh", ILI9341_SCREEN_WIDTH/2-75, ILI9341_SCREEN_HEIGHT/2, BLACK, 2, WHITE);
			lastVelocity=255;
			velocityCounter=5;//force velocity redraw
		}
		lastNeutralState=neutralState;
		// if in gear calculate and draw velocity value each 5 main loop cycles
		if(velocityCounter>4){
			velocityCounter=0;
			if(neutralState==0){
				uint8_t Velocity;
				char* pVelocity=VelocityString;
				if(Get_VelocityTimeAvg()==0){Velocity=0;}else{
					Velocity=((WheelCircumference/EncNumberOfPulses)/(Get_VelocityTimeAvg()*0.0001))*3.6;} //calculate velocity
				if(Velocity!=lastVelocity){  //if number is valid and different from last calculation convert it to string
					itoa(Velocity, pVelocity, 10);
					//clear last value on screen
					if(lastVelocity>=100 && Velocity <100){ILI9341_Draw_Rectangle(ILI9341_SCREEN_WIDTH/2-30, ILI9341_SCREEN_HEIGHT/2-40, 200, 80, BLACK);}
					if(lastVelocity>=10 && Velocity <10){ILI9341_Draw_Rectangle(ILI9341_SCREEN_WIDTH/2-30, ILI9341_SCREEN_HEIGHT/2-40, 200, 80, BLACK);}

					ILI9341_Draw_Text(pVelocity, ILI9341_SCREEN_WIDTH/2-30, ILI9341_SCREEN_HEIGHT/2-40, WHITE, 10, BLACK);
					lastVelocity=Velocity;
				}
			}
		}
		velocityCounter++;

		//Indicators drawing
		if(blinkerState==1 && lastBlinkerState==0){ILI9341_DrawBitmap((const char*)blinkerIcon, 10, ILI9341_SCREEN_HEIGHT/2-30,64,48,BLACK,GREEN);}
		if(blinkerState==0 && lastBlinkerState==1){ILI9341_Draw_Rectangle(10, ILI9341_SCREEN_HEIGHT/2-30, 64, 48, BLACK);}

		if(highBeamState==1 && lastHighBeamState==0){ILI9341_DrawBitmap((const char*)highBeamIcon, ILI9341_SCREEN_WIDTH-48-5,5,48,34,BLACK,BLUE);}
		if(highBeamState==0 && lastHighBeamState==1){ILI9341_Draw_Rectangle(ILI9341_SCREEN_WIDTH-48-5,5,48,34, BLACK);}

		lastBlinkerState=blinkerState;
		lastHighBeamState=highBeamState;

		//read indicators state after drawing to show predefined state right after startup
		if(HAL_GPIO_ReadPin(BLINK_GPIO_Port, BLINK_Pin)==GPIO_PIN_RESET){blinkerState=1;}else{blinkerState=0;}
		if(HAL_GPIO_ReadPin(NEUTRAL_GPIO_Port, NEUTRAL_Pin)==GPIO_PIN_RESET){neutralState=1;}else{neutralState=0;}
		if(HAL_GPIO_ReadPin(HIBEAM_GPIO_Port, HIBEAM_Pin)==GPIO_PIN_RESET){highBeamState=1;}else{highBeamState=0;}

		//time drawing
		if(timeSettingMode==0){
			//RTC_TimeTypeDef sTime;
			HAL_RTC_GetTime(&hrtc, &sTime, RTC_FORMAT_BIN);

			if(lastMinute!=sTime.Minutes){
				char TimeString[6];
				if(sTime.Minutes<10){
					sprintf(TimeString,"%d:0%d",sTime.Hours,sTime.Minutes);
				}else{
					sprintf(TimeString,"%d:%d",sTime.Hours,sTime.Minutes);
				}

				char* pTime=TimeString;

				ILI9341_Draw_Rectangle(ILI9341_SCREEN_WIDTH/2-40, 50, 130,24, BLACK);
				ILI9341_Draw_Text(pTime, ILI9341_SCREEN_WIDTH/2-40, 50, WHITE, 3, BLACK);
				lastMinute=sTime.Minutes;
			}
		}

		//mileage and trip drawing
		if(trip!=lastTrip){

			if(lastTrip!=0){
				if(trip>1000){       //trip zeroes automatically every 1000km
					trip=trip-1000;
				}

				EEPROM_SPI_WriteBuffer((uint8_t*) &mileage, (uint16_t)16, (uint16_t)8);   //write mileage and trip to eeprom
				EEPROM_SPI_WriteBuffer((uint8_t*) &trip, (uint16_t)24, (uint16_t)8);     //after 100 wheel revolutions
			}

			char* pMileage=mileageString;
			itoa(mileage, pMileage, 10);
			ILI9341_Draw_Text(pMileage, 15, 175, WHITE, 3, BLACK);
			ILI9341_Draw_Text("km", 15+(strlen(pMileage)*19), 185, WHITE, 1, BLACK);

			char* pTrip=tripString;
			itoa(trip, pTrip, 10);
			ILI9341_Draw_Text("trip", (320-(strlen(pTrip)*19)-30-35), 180, WHITE, 1, BLACK);   //trip is right aligned so lenght of the string must be subtracted in X dir
			ILI9341_Draw_Text(pTrip, (320-(strlen(pTrip)*19)-30), 175, WHITE, 3, BLACK);
			ILI9341_Draw_Text("km",(320-30) , 190, WHITE, 1, BLACK);

			lastTrip=trip;
		}

		////TIME SETTING

		if(timeSettingMode==1){   //minute setting
			if(HAL_GPIO_ReadPin(BTN_SET_GPIO_Port, BTN_SET_Pin)==GPIO_PIN_RESET){
				timeSettingModeMinute++;
				if(timeSettingModeMinute==60)timeSettingModeMinute=0;
			}
			char TimeStringEdit[6];
			if(timeSettingModeMinute<10){
				sprintf(TimeStringEdit,"%d:0%d<",timeSettingModeHour,timeSettingModeMinute);
			}
			else{
				sprintf(TimeStringEdit,"%d:%d<",timeSettingModeHour,timeSettingModeMinute);
			}
			char* pTimeEdit=TimeStringEdit;
			ILI9341_Draw_Text(pTimeEdit, ILI9341_SCREEN_WIDTH/2-40, 50, RED, 3, BLACK);

			if(btnModeSec>10){timeSettingMode=2;btnModeSec=0;} //mode is being held for shorter time while changing mode

		}

		if(timeSettingMode==2){   //hour setting
			if(HAL_GPIO_ReadPin(BTN_SET_GPIO_Port, BTN_SET_Pin)==GPIO_PIN_RESET){
				timeSettingModeHour++;
				if(timeSettingModeHour==24)timeSettingModeHour=0;
			}
			char TimeStringEdit[6];
			if(timeSettingModeMinute<10){
				sprintf(TimeStringEdit,">%d:0%d",timeSettingModeHour,timeSettingModeMinute);
			}
			else{
				sprintf(TimeStringEdit,">%d:%d",timeSettingModeHour,timeSettingModeMinute);
			}

			char* pTimeEdit=TimeStringEdit;
			ILI9341_Draw_Text(pTimeEdit, ILI9341_SCREEN_WIDTH/2-40, 50, RED, 3, BLACK);

			if(btnModeSec>10){ //mode is being held for shorter time while exiting
				timeSettingMode=0;
				RTC_TimeTypeDef sTimeEdited;
				sTimeEdited.Hours=timeSettingModeHour;
				sTimeEdited.Minutes=timeSettingModeMinute;
				sTimeEdited.Seconds=0;
				HAL_RTC_SetTime(&hrtc, &sTimeEdited, RTC_FORMAT_BIN);
				lastMinute=timeSettingModeMinute+1;
				btnModeSec=0;
			}

		}

		if(btnModeSec>15){
			timeSettingMode=1;
			btnModeSec=0;
			HAL_RTC_GetTime(&hrtc, &sTime, RTC_FORMAT_BIN);
			timeSettingModeHour=sTime.Hours;
			timeSettingModeMinute=sTime.Minutes;
			char TimeStringEdit[6];
			if(timeSettingModeMinute<10){
				sprintf(TimeStringEdit,"%d:0%d<",timeSettingModeHour,timeSettingModeMinute);
			}
			else{
				sprintf(TimeStringEdit,"%d:%d<",timeSettingModeHour,timeSettingModeMinute);
			}
			char* pTimeEdit=TimeStringEdit;
			ILI9341_Draw_Text(pTimeEdit, ILI9341_SCREEN_WIDTH/2-40, 50, RED, 3, BLACK);
			osDelay(200);

		}

		if(HAL_GPIO_ReadPin(BTN_MODE_GPIO_Port, BTN_MODE_Pin)==GPIO_PIN_RESET){ //if mode is pressed count how long it is pressed
			btnModeSec++;
		}
		else{
			btnModeSec=0;
		}

		if(HAL_GPIO_ReadPin(BTN_SET_GPIO_Port, BTN_SET_Pin)==GPIO_PIN_RESET && timeSettingMode==0){ //if mode is set count how long it is pressed
			btnSetSec++;
			if(btnSetSec>5){trip=0;btnSetSec=0;}
		}
		else{
			btnSetSec=0;
		}

		//HAL_GPIO_TogglePin(GPIOC, GPIO_PIN_13);  //status led blink
		osDelay(UPDATE_DELAY_MS);                             //main screen refresh delay in ms

		}
  /* USER CODE END vLCDMain */
}

void vStepp(void const * argument)
{
	/* USER CODE BEGIN vStepp */
	/* Infinite loop */
	osDelay(4500);  //startup delay for dial calibration in vStartup task
	for(;;)
	{

		if(Get_IC_Value()!=0){
			RPMfreq=1000000/(Get_IC_Value());  //get RPM signal frequency
		}
		else{
			RPMfreq=0;
		}

		RPMNow=(RPMfreq*10.27)-255;				//calculate RPM value
		if(RPMNow>260)RPMAvgSum+=RPMNow;          //if RPM value is positive add it to average

		RPMAvg_i++;
		if(RPMAvg_i==49){					//after 10 measurements calculate average
			RPM=RPMAvgSum/50;
			RPM=RPM/25;                    //resolution of measurement is 25 RPM
			RPM=RPM*25;
			RPMAvgSum=0;
			RPMAvg_i=0;

		}
		osDelay(2); //averaged RPM value every 80ms (40*2)

	}
	/* USER CODE END vStepp */
}

void vStartup(void const * argument)
{
  /* USER CODE BEGIN vStartup */

//////Dial calibration during startup////////

	//RPM=4000;
	//osDelay(700);

	//RPM=8000;
	//osDelay(700);

	//RPM=12000;
	//osDelay(700);

	RPM=15300;
	osDelay(1700);

	RPM=0;
	vTaskDelete(startupHandle);
  /* USER CODE END vStartup */
}

/* USER CODE BEGIN Application */

void SendUsbMessage(uint8_t message[]){
	uint8_t mesLenght=0;
		uint8_t mesData [40];
		mesLenght=sprintf(mesData, "%s\n\r",message);
		CDC_Transmit_FS(mesData, mesLenght);
}

/* USER CODE END Application */

/************************ (C) COPYRIGHT STMicroelectronics *****END OF FILE****/
